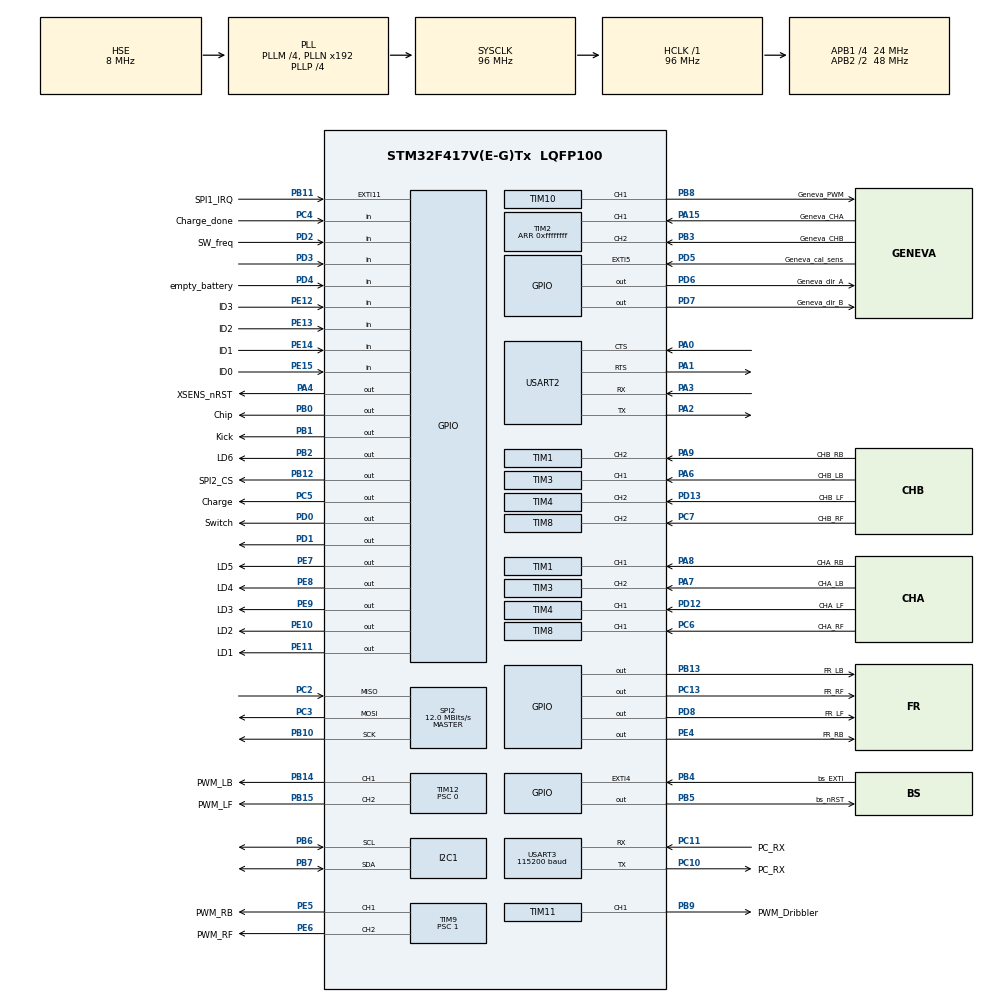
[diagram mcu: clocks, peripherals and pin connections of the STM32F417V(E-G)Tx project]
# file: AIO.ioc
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Dma.Request0=USART3_RX
Dma.Request1=USART3_TX
Dma.USART3_RX.0.Direction=DMA_PERIPH_TO_MEMORY
Dma.USART3_RX.0.FIFOMode=DMA_FIFOMODE_DISABLE
Dma.USART3_RX.0.Instance=DMA1_Stream1
Dma.USART3_RX.0.MemDataAlignment=DMA_MDATAALIGN_BYTE
Dma.USART3_RX.0.MemInc=DMA_MINC_ENABLE
Dma.USART3_RX.0.Mode=DMA_NORMAL
Dma.USART3_RX.0.PeriphDataAlignment=DMA_PDATAALIGN_BYTE
Dma.USART3_RX.0.PeriphInc=DMA_PINC_DISABLE
Dma.USART3_RX.0.Priority=DMA_PRIORITY_LOW
Dma.USART3_TX.1.Direction=DMA_MEMORY_TO_PERIPH
Dma.USART3_TX.1.FIFOMode=DMA_FIFOMODE_DISABLE
Dma.USART3_TX.1.Instance=DMA1_Stream3
Dma.USART3_TX.1.MemDataAlignment=DMA_MDATAALIGN_BYTE
Dma.USART3_TX.1.MemInc=DMA_MINC_ENABLE
Dma.USART3_TX.1.Mode=DMA_NORMAL
Dma.USART3_TX.1.PeriphDataAlignment=DMA_PDATAALIGN_BYTE
Dma.USART3_TX.1.PeriphInc=DMA_PINC_DISABLE
Dma.USART3_TX.1.Priority=DMA_PRIORITY_LOW
Mcu.Family=STM32F4
Mcu.Name=STM32F417V(E-G)Tx
Mcu.Package=LQFP100
Mcu.UserConstants=MAX_PWM,2400;ENCODER_FILTER,15;APB1,48
NVIC.DMA1_Stream1_IRQn=true\:0\:0\:false\:false\:true\:false
NVIC.DMA1_Stream3_IRQn=true\:0\:0\:false\:false\:true\:false
NVIC.EXTI15_10_IRQn=true\:0\:0\:false\:false\:true\:true
NVIC.EXTI4_IRQn=true\:0\:0\:false\:false\:true\:true
NVIC.I2C1_EV_IRQn=true\:0\:0\:false\:false\:true\:true
NVIC.PriorityGroup=NVIC_PRIORITYGROUP_4
NVIC.TIM6_DAC_IRQn=true\:0\:0\:false\:false\:true\:true
NVIC.TIM7_IRQn=true\:0\:0\:false\:false\:true\:true
NVIC.TIM8_TRG_COM_TIM14_IRQn=true\:0\:0\:false\:false\:true\:true
NVIC.TIM8_UP_TIM13_IRQn=true\:0\:0\:false\:false\:true\:true
NVIC.USART2_IRQn=true\:0\:0\:false\:false\:true\:true
NVIC.USART3_IRQn=true\:7\:0\:true\:false\:true\:true
PA0-WKUP.Mode=CTS_RTS
PA0-WKUP.Signal=USART2_CTS
PA1.Mode=CTS_RTS
PA1.Signal=USART2_RTS
PA13.Mode=Serial_Wire
PA13.Signal=SYS_JTMS-SWDIO
PA14.Mode=Serial_Wire
PA14.Signal=SYS_JTCK-SWCLK
PA15.GPIO_Label=Geneva_CHA
PA15.Signal=S_TIM2_CH1_ETR
PA2.Mode=Asynchronous
PA2.Signal=USART2_TX
PA3.Mode=Asynchronous
PA3.Signal=USART2_RX
PA4.GPIO_Label=XSENS_nRST
PA4.Signal=GPIO_Output
PA6.GPIO_Label=CHB_LB
PA6.Signal=S_TIM3_CH1
PA7.GPIO_Label=CHA_LB
PA7.Signal=S_TIM3_CH2
PA8.GPIO_Label=CHA_RB
PA8.Signal=S_TIM1_CH1
PA9.GPIO_Label=CHB_RB
PA9.Signal=S_TIM1_CH2
PB0.GPIO_Label=Chip
PB0.GPIO_Speed=GPIO_SPEED_FREQ_HIGH
PB0.Signal=GPIO_Output
PB1.GPIO_Label=Kick
PB1.GPIO_Speed=GPIO_SPEED_FREQ_HIGH
PB1.Signal=GPIO_Output
PB10.Mode=Full_Duplex_Master
PB10.Signal=SPI2_SCK
PB11.GPIO_Label=SPI1_IRQ
PB11.GPIO_ModeDefaultEXTI=GPIO_MODE_IT_FALLING
PB11.Signal=GPXTI11
PB12.GPIO_Label=SPI2_CS
PB12.Signal=GPIO_Output
PB13.GPIO_Label=FR_LB
PB13.Signal=GPIO_Output
PB14.GPIO_Label=PWM_LB
PB14.Signal=S_TIM12_CH1
PB15.GPIO_Label=PWM_LF
PB15.Signal=S_TIM12_CH2
PB2.GPIO_Label=LD6
PB2.PinState=GPIO_PIN_RESET
PB2.Signal=GPIO_Output
PB3.GPIO_Label=Geneva_CHB
PB3.Signal=S_TIM2_CH2
PB4.GPIO_Label=bs_EXTI
PB4.Signal=GPXTI4
PB5.GPIO_Label=bs_nRST
PB5.GPIO_Speed=GPIO_SPEED_FREQ_VERY_HIGH
PB5.PinState=GPIO_PIN_RESET
PB5.Signal=GPIO_Output
PB6.Mode=I2C
PB6.Signal=I2C1_SCL
PB7.Mode=I2C
PB7.Signal=I2C1_SDA
PB8.GPIO_Label=Geneva_PWM
PB8.Signal=S_TIM10_CH1
PB9.GPIO_Label=PWM_Dribbler
PB9.Signal=S_TIM11_CH1
PC10.GPIO_Label=PC_RX
PC10.Mode=Asynchronous
PC10.Signal=USART3_TX
PC11.GPIO_Label=PC_RX
PC11.Mode=Asynchronous
PC11.Signal=USART3_RX
PC13-ANTI_TAMP.GPIO_Label=FR_RF
PC13-ANTI_TAMP.Signal=GPIO_Output
PC2.Mode=Full_Duplex_Master
PC2.Signal=SPI2_MISO
PC3.Mode=Full_Duplex_Master
PC3.Signal=SPI2_MOSI
PC4.GPIO_Label=Charge_done
PC4.Signal=GPIO_Input
PC5.GPIO_Label=Charge
PC5.GPIO_Speed=GPIO_SPEED_FREQ_HIGH
PC5.Signal=GPIO_Output
PC6.GPIO_Label=CHA_RF
PC6.Signal=S_TIM8_CH1
PC7.GPIO_Label=CHB_RF
PC7.Signal=S_TIM8_CH2
PD0.GPIO_Label=Switch
PD0.Signal=GPIO_Output
PD1.Signal=GPIO_Output
PD12.GPIO_Label=CHA_LF
PD12.Signal=S_TIM4_CH1
PD13.GPIO_Label=CHB_LF
PD13.Signal=S_TIM4_CH2
PD2.GPIO_Label=SW_freq
PD2.GPIO_PuPd=GPIO_PULLUP
PD2.Signal=GPIO_Input
PD3.Signal=GPIO_Input
PD4.GPIO_Label=empty_battery
PD4.GPIO_PuPd=GPIO_PULLDOWN
PD4.Signal=GPIO_Input
PD5.GPIO_Label=Geneva_cal_sens
PD5.GPIO_ModeDefaultEXTI=GPIO_MODE_IT_FALLING
PD5.GPIO_PuPd=GPIO_PULLUP
PD5.Signal=GPXTI5
PD6.GPIO_Label=Geneva_dir_A
PD6.Signal=GPIO_Output
PD7.GPIO_Label=Geneva_dir_B
PD7.Signal=GPIO_Output
PD8.GPIO_Label=FR_LF
PD8.Signal=GPIO_Output
PE10.GPIO_Label=LD2
PE10.PinState=GPIO_PIN_RESET
PE10.Signal=GPIO_Output
PE11.GPIO_Label=LD1
PE11.PinState=GPIO_PIN_RESET
PE11.Signal=GPIO_Output
PE12.GPIO_Label=ID3
PE12.Signal=GPIO_Input
PE13.GPIO_Label=ID2
PE13.Signal=GPIO_Input
PE14.GPIO_Label=ID1
PE14.Signal=GPIO_Input
PE15.GPIO_Label=ID0
PE15.Signal=GPIO_Input
PE4.GPIO_Label=FR_RB
PE4.Signal=GPIO_Output
PE5.GPIO_Label=PWM_RB
PE5.Signal=S_TIM9_CH1
PE6.GPIO_Label=PWM_RF
PE6.Signal=S_TIM9_CH2
PE7.GPIO_Label=LD5
PE7.PinState=GPIO_PIN_RESET
PE7.Signal=GPIO_Output
PE8.GPIO_Label=LD4
PE8.PinState=GPIO_PIN_RESET
PE8.Signal=GPIO_Output
PE9.GPIO_Label=LD3
PE9.PinState=GPIO_PIN_RESET
PE9.Signal=GPIO_Output
PH0-OSC_IN.Mode=HSE-External-Oscillator
PH0-OSC_IN.Signal=RCC_OSC_IN
PH1-OSC_OUT.Mode=HSE-External-Oscillator
PH1-OSC_OUT.Signal=RCC_OSC_OUT
ProjectManager.HeapSize=0x200
ProjectManager.StackSize=0x400
ProjectManager.TargetToolchain=SW4STM32
RCC.48MHZClocksFreq_Value=96000000
RCC.AHBFreq_Value=96000000
RCC.APB1CLKDivider=RCC_HCLK_DIV4
RCC.APB1Freq_Value=24000000
RCC.APB1TimFreq_Value=48000000
RCC.APB2CLKDivider=RCC_HCLK_DIV2
RCC.APB2Freq_Value=48000000
RCC.APB2TimFreq_Value=96000000
RCC.CortexFreq_Value=96000000
RCC.HCLKFreq_Value=96000000
RCC.HSE_VALUE=8000000
RCC.HSI_VALUE=16000000
RCC.LSE_VALUE=32768
RCC.PLLM=4
RCC.PLLP=RCC_PLLP_DIV4
RCC.PLLSourceVirtual=RCC_PLLSOURCE_HSE
RCC.RCC_RTC_Clock_SourceVirtual=RCC_RTCCLKSOURCE_HSE_DIV25
RCC.RCC_RTC_Clock_Source_FROM_HSE=RCC_RTCCLKSOURCE_HSE_DIV25
RCC.SYSCLKFreq_VALUE=96000000
RCC.SYSCLKSource=RCC_SYSCLKSOURCE_PLLCLK
RCC.VCOOutputFreq_Value=384000000
SH.S_TIM10_CH1.0=TIM10_CH1,PWM Generation1 CH1
SH.S_TIM11_CH1.0=TIM11_CH1,PWM Generation1 CH1
SH.S_TIM12_CH1.0=TIM12_CH1,PWM Generation1 CH1
SH.S_TIM12_CH2.0=TIM12_CH2,PWM Generation2 CH2
SH.S_TIM1_CH1.0=TIM1_CH1,Encoder_Interface
SH.S_TIM1_CH2.0=TIM1_CH2,Encoder_Interface
SH.S_TIM2_CH1_ETR.0=TIM2_CH1,Encoder_Interface
SH.S_TIM2_CH2.0=TIM2_CH2,Encoder_Interface
SH.S_TIM3_CH1.0=TIM3_CH1,Encoder_Interface
SH.S_TIM3_CH2.0=TIM3_CH2,Encoder_Interface
SH.S_TIM4_CH1.0=TIM4_CH1,Encoder_Interface
SH.S_TIM4_CH2.0=TIM4_CH2,Encoder_Interface
SH.S_TIM8_CH1.0=TIM8_CH1,Encoder_Interface
SH.S_TIM8_CH2.0=TIM8_CH2,Encoder_Interface
SH.S_TIM9_CH1.0=TIM9_CH1,PWM Generation1 CH1
SH.S_TIM9_CH2.0=TIM9_CH2,PWM Generation2 CH2
SPI2.BaudRatePrescaler=SPI_BAUDRATEPRESCALER_2
SPI2.CalculateBaudRate=12.0 MBits/s
SPI2.Direction=SPI_DIRECTION_2LINES
SPI2.Mode=SPI_MODE_MASTER
SPI2.VirtualType=VM_MASTER
TIM1.EncoderMode=TIM_ENCODERMODE_TI12
TIM1.IC1Filter=ENCODER_FILTER
TIM1.IC2Filter=ENCODER_FILTER
TIM1.Period=0xffff
TIM10.Channel=TIM_CHANNEL_1
TIM10.Period=MAX_PWM
TIM11.Channel=TIM_CHANNEL_1
TIM11.Period=MAX_PWM
TIM11.Prescaler=0
TIM12.Channel-Output\ Compare1\ CH1=TIM_CHANNEL_1
TIM12.Channel-PWM\ Generation1\ CH1=TIM_CHANNEL_1
TIM12.Channel-PWM\ Generation2\ CH2=TIM_CHANNEL_2
TIM12.OCFastMode_PWM-PWM\ Generation1\ CH1=TIM_OCFAST_ENABLE
TIM12.OCFastMode_PWM-PWM\ Generation2\ CH2=TIM_OCFAST_ENABLE
TIM12.OCMode_PWM-PWM\ Generation1\ CH1=TIM_OCMODE_PWM1
TIM12.OCMode_PWM-PWM\ Generation2\ CH2=TIM_OCMODE_PWM1
TIM12.OCPolarity_2=TIM_OCPOLARITY_HIGH
TIM12.Period=MAX_PWM
TIM12.Prescaler=0
TIM12.Pulse-PWM\ Generation1\ CH1=0
TIM12.Pulse-PWM\ Generation2\ CH2=0
TIM13.Prescaler=2400
TIM14.Period=1500
TIM14.Prescaler=APB1-1
TIM2.EncoderMode=TIM_ENCODERMODE_TI12
TIM2.IC1Filter=ENCODER_FILTER
TIM2.IC2Filter=ENCODER_FILTER
TIM2.Period=0xffffffff
TIM3.CounterMode=TIM_COUNTERMODE_UP
TIM3.EncoderMode=TIM_ENCODERMODE_TI12
TIM3.IC1Filter=ENCODER_FILTER
TIM3.IC2Filter=ENCODER_FILTER
TIM3.Period=0xffff
TIM4.EncoderMode=TIM_ENCODERMODE_TI12
TIM4.IC1Filter=ENCODER_FILTER
TIM4.IC2Filter=ENCODER_FILTER
TIM4.Period=0xffff
TIM5.Period=0xffffffff
TIM5.Prescaler=APB1-1
TIM6.Period=10000
TIM6.Prescaler=APB1-1
TIM7.Period=10000
TIM7.Prescaler=APB1-1
TIM8.EncoderMode=TIM_ENCODERMODE_TI12
TIM8.IC1Filter=ENCODER_FILTER
TIM8.IC2Filter=ENCODER_FILTER
TIM8.Period=0xffff
TIM9.Channel-PWM\ Generation1\ CH1=TIM_CHANNEL_1
TIM9.Channel-PWM\ Generation2\ CH2=TIM_CHANNEL_2
TIM9.OCFastMode_PWM-PWM\ Generation1\ CH1=TIM_OCFAST_ENABLE
TIM9.OCFastMode_PWM-PWM\ Generation2\ CH2=TIM_OCFAST_ENABLE
TIM9.Period=MAX_PWM
TIM9.Prescaler=1
USART2.VirtualMode=VM_ASYNC
USART3.BaudRate=115200
USART3.VirtualMode=VM_ASYNC
VP_TIM10_VS_ClockSourceINT.Mode=Enable_Timer
VP_TIM11_VS_ClockSourceINT.Mode=Enable_Timer
VP_TIM13_VS_ClockSourceINT.Mode=Enable_Timer
VP_TIM14_VS_ClockSourceINT.Mode=Enable_Timer
VP_TIM5_VS_ClockSourceINT.Mode=Internal
VP_TIM6_VS_ClockSourceINT.Mode=Enable_Timer
VP_TIM7_VS_ClockSourceINT.Mode=Enable_Timer
board=AIO

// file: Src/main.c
/**
  ******************************************************************************
  * @file           : main.c
  * @brief          : Main program body
  ******************************************************************************
  ** This notice applies to any and all portions of this file
  * that are not between comment pairs USER CODE BEGIN and
  * USER CODE END. Other portions of this file, whether
  * inserted by the user or by software development tools
  * are owned by their respective copyright owners.
  *
  * COPYRIGHT(c) 2019 STMicroelectronics
  *
  * Redistribution and use in source and binary forms, with or without modification,
  * are permitted provided that the following conditions are met:
  *   1. Redistributions of source code must retain the above copyright notice,
  *      this list of conditions and the following disclaimer.
  *   2. Redistributions in binary form must reproduce the above copyright notice,
  *      this list of conditions and the following disclaimer in the documentation
  *      and/or other materials provided with the distribution.
  *   3. Neither the name of STMicroelectronics nor the names of its contributors
  *      may be used to endorse or promote products derived from this software
  *      without specific prior written permission.
  *
  * THIS SOFTWARE IS PROVIDED BY THE COPYRIGHT HOLDERS AND CONTRIBUTORS "AS IS"
  * AND ANY EXPRESS OR IMPLIED WARRANTIES, INCLUDING, BUT NOT LIMITED TO, THE
  * IMPLIED WARRANTIES OF MERCHANTABILITY AND FITNESS FOR A PARTICULAR PURPOSE ARE
  * DISCLAIMED. IN NO EVENT SHALL THE COPYRIGHT HOLDER OR CONTRIBUTORS BE LIABLE
  * FOR ANY DIRECT, INDIRECT, INCIDENTAL, SPECIAL, EXEMPLARY, OR CONSEQUENTIAL
  * DAMAGES (INCLUDING, BUT NOT LIMITED TO, PROCUREMENT OF SUBSTITUTE GOODS OR
  * SERVICES; LOSS OF USE, DATA, OR PROFITS; OR BUSINESS INTERRUPTION) HOWEVER
  * CAUSED AND ON ANY THEORY OF LIABILITY, WHETHER IN CONTRACT, STRICT LIABILITY,
  * OR TORT (INCLUDING NEGLIGENCE OR OTHERWISE) ARISING IN ANY WAY OUT OF THE USE
  * OF THIS SOFTWARE, EVEN IF ADVISED OF THE POSSIBILITY OF SUCH DAMAGE.
  *
  ******************************************************************************
  */
#include "main.h"
#include "stm32f4xx_hal.h"
#include "dma.h"
#include "i2c.h"
#include "spi.h"
#include "tim.h"
#include "usart.h"
#include "gpio.h"

/* USER CODE BEGIN Includes */
#include <math.h>
#include <stdlib.h>
#include "PuttyInterface/PuttyInterface.h"
#include "userIO/userIO.h"
#include "Geneva/geneva.h"
#include "DO/DO.h"
#include "Ballsensor/ballsensor.h"
//#include "myNRF24.h"
#include "wheels/wheels.h"
#include "kickchip/kickchip.h"
#include "MTi/MTiControl.h"
#include "wireless/wireless.h"
#include "dribbler/dribbler.h"
#include "DO/control_util.h"
#include "arm_math.h"
#include "Kalman/Kalman.h"
#include "DO/stateEstimation.h"

/* USER CODE END Includes */

/* USER CODE BEGIN PV */
/* Private variables ---------------------------------------------------------*/
#define STOP_AFTER 250 //ms
PuttyInterfaceTypeDef puttystruct;
bool battery_empty = false;
bool user_control = false;
bool print_encoder = false;
bool print_euler = false;
bool wheels_testing = false;
float wheels_testing_power = 3000;
bool keyboard_control = false;
bool started_icc = false;
bool halt = true;
bool calibration_needed = true;
bool vision_available = false;
bool use_global_ref = true;

float wheels_ref[4] = {0,0,0,0};
float velocityRef[3] = {0};
float vision_yaw = 0;
uint kick_timer = 0;
uint8_t corrected_kick_power = 0;

// KALMAN
float vel[2] = {0};
float accel[2] = {0};

/* USER CODE END PV */

void SystemClock_Config(void);

/* USER CODE BEGIN PFP */
/* Private function prototypes -----------------------------------------------*/
void HandleCommand(char* input);

/* USER CODE END PFP */

int main(void)
{

  /* MCU Configuration----------------------------------------------------------*/

  /* Reset of all peripherals, Initializes the Flash interface and the Systick. */
  HAL_Init();

  /* Configure the system clock */
  SystemClock_Config();

  /* Initialize all configured peripherals */
  MX_GPIO_Init();
  MX_DMA_Init();
  MX_TIM8_Init();
  MX_TIM4_Init();
  MX_TIM3_Init();
  MX_TIM2_Init();
  MX_TIM9_Init();
  MX_TIM12_Init();
  MX_TIM10_Init();
  MX_TIM11_Init();
  MX_USART2_UART_Init();
  MX_I2C1_Init();
  MX_SPI2_Init();
  MX_USART3_UART_Init();
  MX_TIM1_Init();
  MX_TIM6_Init();
  MX_TIM7_Init();
  MX_TIM5_Init();
  MX_TIM13_Init();
  MX_TIM14_Init();

  /* USER CODE BEGIN 2 */
	puttystruct.handle = HandleCommand;
	Kalman_init();
	PuttyInterface_Init(&puttystruct);
	vel_control_Init();
	dribbler_Init();
	ballsensorInit();
	wheelsInit();
	MT_Init();
	//geneva_Init();
	kick_Init();

	if(HAL_GPIO_ReadPin(SW_freq_GPIO_Port, SW_freq_Pin)){
		Wireless_Init(ReadAddress(), 103);
	}else{
		Wireless_Init(ReadAddress(), 80);
	}

  /* USER CODE END 2 */

  /* Infinite loop */
  /* USER CODE BEGIN WHILE */
	uint printtime = 0;
	uint battery_count = 0;
	preparedAckData.batteryState = 0;
	enable_acks = 0;
	while (1)
	{
		HAL_GPIO_TogglePin(Switch_GPIO_Port,Switch_Pin);

		if(Wireless_newData()) {
			Wireless_newPacketHandler();
			//printBallPosition();
			//HAL_GPIO_TogglePin(LD3_GPIO_Port, LD3_Pin);

			//if (!calibration_needed) {
			halt = false; // robot is only allowed to move after packages are received and yaw calibration is not needed
			//}
			LastPackageTime = HAL_GetTick();

			//TODO: test this data coming in
			float velRefAmp = (float)receivedRoboData.rho * 0.004F;
			float velRefDir = (float)receivedRoboData.theta / 1024.0F * M_PI;
			float angularVelRef = (float)receivedRoboData.velocity_angular / 512.0F * M_PI;
			velocityRef[body_x] = cosf(velRefDir) * velRefAmp;
			velocityRef[body_y] = sinf(velRefDir) * velRefAmp;
			if(receivedRoboData.use_angle){
				velocityRef[body_w] = angularVelRef;
			}
			use_global_ref = receivedRoboData.driving_reference;

			//TODO: test vision angle and calibration etc.
			vision_available = receivedRoboData.use_cam_info;
			if (vision_available) {
				vision_yaw = ((float)receivedRoboData.cam_rotation/1024.0F)*M_PI;
			}

			//dribbler
			dribbler_SetSpeed(receivedRoboData.velocity_dribbler);

			//kicker
			float kick_power = (float)receivedRoboData.kick_chip_power/255.0F*8.0F; // represented kick power
			if (kick_power > 4.5F) {
				corrected_kick_power = 99.0; // above a certain command, we cannot shoot any faster, so we choose maximum power for certainty
			} else {
				corrected_kick_power = (kick_power*0.5F+1.0F)/8.0F*100.0F; // scale (0 to 8) range to (1 to 5) range such that in software the command matches the start velocity of the ball
			}
			//		uprintf("[%f, %f, %i]\n\r", kick_power, (float)(corrected_kick_power)/100*8,corrected_kick_power);
			if (receivedRoboData.kick_chip_forced/* && ((HAL_GetTick() - kick_timer) > 0)*/){
				kick_timer = HAL_GetTick() + 1000U;
				float kick_power = (float)receivedRoboData.kick_chip_power/255.0F*8.0F; // represented kick power
				float corrected_kick_power;
				if (kick_power > 4.5F) {
					corrected_kick_power = 99; // above a certain command, we cannot shoot any faster, so we choose maximum power for certainty
				} else {
					corrected_kick_power = (kick_power*0.5F+1.0F)/8.0F*100.0F; // scale (0 to 8) range to (1 to 5) range such that in software the command matches the start velocity of the ball
				}
				kick_Shoot(corrected_kick_power,!receivedRoboData.do_chip);
			}

			//geneva
			if (receivedRoboData.geneva_drive_state != 0){
				geneva_SetPosition(receivedRoboData.geneva_drive_state-1);
			}

		}else if(wheels_testing){
			velocityRef[body_x] = wheels_testing_power;
			halt = false;
		}else if((HAL_GetTick() - LastPackageTime > STOP_AFTER)/* && !user_control*/){; // if no new wireless data
		halt = true;
		vision_available = false;
		}
		// check if battery is empty
		if(HAL_GPIO_ReadPin(empty_battery_GPIO_Port, empty_battery_Pin)){
			if(battery_count++ == 1000){
				uprintf("Battery empty!\n\r");
				ToggleLD(4);
				wheelsDeInit();
				kick_DeInit();
				dribbler_Deinit();
				geneva_Deinit();
				preparedAckData.batteryState = 1;
				Wireless_Deinit();
			}
		}

		preparedAckData.ballSensor = ballsensorMeasurementLoop(receivedRoboData.do_kick, receivedRoboData.do_chip, corrected_kick_power);
		if(preparedAckData.ballSensor == NOBALL){
			SetLD(2, 0);
		}else{
			SetLD(2, 1);
		}
		preparedAckData.ballSensor = ballsensorMeasurementLoop(1, receivedRoboData.do_chip, 30);

		//uprintf("ball: %i\n",preparedAckData.ballSensor);

		// ------ TEMPORARY TESTING ---------
		//      also turn off line 239
		//	vision_yaw = 0.5*M_PI;
		//	vision_available = true;
		// ----------------------------------

		geneva_Update();
		MT_Update();
		if((HAL_GetTick() - printtime >= 500)){
			printtime = HAL_GetTick();
			ToggleLD(1);

			//CHECK NRF STATUS REGISTER EVERY SECOND...IF NRF IS CONSTIPATED, FLUSH SHIT OUT
			if(readReg(STATUS) != 0x0e) {
				nrfPrintStatus(readReg(STATUS));
				uprintf("--> Flushing constipated NRF\n");
				flushRX();
				clearInterrupts();
			}

			if(*MT_GetStatusWord() & 0b00011000){
				//uprintf("calibrating Xsens.\n\r");
			}else if(started_icc == false){
				started_icc = true;
				if(MT_UseIcc() == MT_succes)
					uprintf("Xsens calibration done.\n\r");
			}

			//uprintf("acceleration: %f %f %f\n\r", MT_GetAcceleration()[0], MT_GetAcceleration()[1], MT_GetAcceleration()[2]);
			//uprintf("Angle ref: %f\n\r", velocityRef[body_w]);
//			uprintf("kP: %f \n\r", angleK.kP);
//			uprintf("kI: %f \n\r", angleK.kI);
//			uprintf("\n\r");
			//			uprintf("s: %d %d %d %d\n\r", (int)getWheelSpeed(wheels_RF), (int)getWheelSpeed(wheels_RB), (int)getWheelSpeed(wheels_LB), (int)getWheelSpeed(wheels_LF));
			//			uprintf("r: %d %d %d %d\n\r", (int)wheels_ref[wheels_RF], (int)wheels_ref[wheels_RB], (int)wheels_ref[wheels_LB], (int)wheels_ref[wheels_LF]);
			//		uprintf("Vision available? ");
			//		uprintf(vision_available ? "yes\n\r" : "no\n\r");
//					uprintf("Vision yaw: %f degrees\n\r", vision_yaw/M_PI*180);
			//		uprintf("Raw XSens yaw: %f degrees\n\r", MT_GetAngles()[2]);

			//		uprintf("  Difference: %f\n\r", constrainAngle(MT_GetAngles()[2]/180*M_PI - getYaw())/M_PI*180);
			//		uprintf("XSens rate of turn: %f degrees/sec\n\r", MT_GetGyro()[2]/M_PI*180);
////			float gain[4][4] = {0};
//			getKGain(gain);
			//KalmanK();
//			uprintf("wheel speeds: %f %f %f %f\n\r", getWheelSpeed(wheels_RF), getWheelSpeed(wheels_RB), getWheelSpeed(wheels_LB), getWheelSpeed(wheels_LF));
			//for (int i = 0; i < 4; i++) {
			//	uprintf("Kalman Gain %d: %f %f %f %f\n\r", i, gain[0][i], gain[1][i], gain[2][i], gain[3][i]);
			//}
			//		uprintf("\n\r");
			//uprintf("ballSensor = [%d]\n\r", preparedAckData.ballSensor);
			//uprintf("MT status suc/err = [%u/%u]\n\r", MT_GetSuccErr()[0], MT_GetSuccErr()[1]);
			//uprintf("status word [%08lx]\n\r", (unsigned long)*MT_GetStatusWord());
			//uprintf("charge = %d\n\r", HAL_GPIO_ReadPin(Charge_GPIO_Port, Charge_Pin));
			//uprintf("geneva_state = [%d]\n\r", geneva_GetState());

			/*
			 * FREQUENTLY USED
			 */

			uprintf("Calibrated XSens yaw: %f rad\n\r", getYaw());
			uprintf("vel command: %f %f %f\n\r", velocityRef[0], velocityRef[1], velocityRef[2]);
			//uprintf("measurements: %f %f %f %f\n\r", vel[0], MT_GetAcceleration()[0], vel[1], MT_GetAcceleration()[1]);
			float state[4] = {0};
			getState(state);
			float controlInput[4] = {0};
			KalmanState(accel, vel, controlInput);
			uprintf("Kalman state: %f %f %f %f\n\r", state[0], state[1], state[2], state[3]);

			uprintf("wheel speeds: %d %d %d %d\n\r", (int)getWheelSpeed(wheels_RF), (int)getWheelSpeed(wheels_RB), (int)getWheelSpeed(wheels_LB), (int)getWheelSpeed(wheels_LF));
			uprintf("ref: %d %d %d %d\n\r", (int)wheels_ref[wheels_RF], (int)wheels_ref[wheels_RB], (int)wheels_ref[wheels_LB], (int)wheels_ref[wheels_LF]);
			uprintf("PWM: %d %d %d %d\n\r", getPWM(wheels_RF), getPWM(wheels_RB), getPWM(wheels_LB), getPWM(wheels_LF));

			uprintf("\n\r");

		}
  /* USER CODE END WHILE */

  /* USER CODE BEGIN 3 */
		PuttyInterface_Update(&puttystruct);
	} // end while loop
  /* USER CODE END 3 */

}

void SystemClock_Config(void)
{

  RCC_OscInitTypeDef RCC_OscInitStruct;
  RCC_ClkInitTypeDef RCC_ClkInitStruct;

    /**Configure the main internal regulator output voltage
    */
  __HAL_RCC_PWR_CLK_ENABLE();

  __HAL_PWR_VOLTAGESCALING_CONFIG(PWR_REGULATOR_VOLTAGE_SCALE1);

    /**Initializes the CPU, AHB and APB busses clocks
    */
  RCC_OscInitStruct.OscillatorType = RCC_OSCILLATORTYPE_HSE;
  RCC_OscInitStruct.HSEState = RCC_HSE_ON;
  RCC_OscInitStruct.PLL.PLLState = RCC_PLL_ON;
  RCC_OscInitStruct.PLL.PLLSource = RCC_PLLSOURCE_HSE;
  RCC_OscInitStruct.PLL.PLLM = 4;
  RCC_OscInitStruct.PLL.PLLN = 192;
  RCC_OscInitStruct.PLL.PLLP = RCC_PLLP_DIV4;
  RCC_OscInitStruct.PLL.PLLQ = 4;
  if (HAL_RCC_OscConfig(&RCC_OscInitStruct) != HAL_OK)
  {
    _Error_Handler(__FILE__, __LINE__);
  }

    /**Initializes the CPU, AHB and APB busses clocks
    */
  RCC_ClkInitStruct.ClockType = RCC_CLOCKTYPE_HCLK|RCC_CLOCKTYPE_SYSCLK
                              |RCC_CLOCKTYPE_PCLK1|RCC_CLOCKTYPE_PCLK2;
  RCC_ClkInitStruct.SYSCLKSource = RCC_SYSCLKSOURCE_PLLCLK;
  RCC_ClkInitStruct.AHBCLKDivider = RCC_SYSCLK_DIV1;
  RCC_ClkInitStruct.APB1CLKDivider = RCC_HCLK_DIV4;
  RCC_ClkInitStruct.APB2CLKDivider = RCC_HCLK_DIV2;

  if (HAL_RCC_ClockConfig(&RCC_ClkInitStruct, FLASH_LATENCY_3) != HAL_OK)
  {
    _Error_Handler(__FILE__, __LINE__);
  }

    /**Configure the Systick interrupt time
    */
  HAL_SYSTICK_Config(HAL_RCC_GetHCLKFreq()/1000);

    /**Configure the Systick
    */
  HAL_SYSTICK_CLKSourceConfig(SYSTICK_CLKSOURCE_HCLK);

  /* SysTick_IRQn interrupt configuration */
  HAL_NVIC_SetPriority(SysTick_IRQn, 0, 0);
}

/* USER CODE BEGIN 4 */
#define TEST_WHEELS_COMMAND "test wheels"
#define SET_FILTER_COMMAND "mt filter"
void HandleCommand(char* input){
	if(strcmp(input, "mt start") == 0){
		uprintf("Starting device MTi\n\r");
		if(MT_succes == MT_Init()){
			uprintf("MTi started.\n\r");
		}else{
			uprintf("No communication with MTi!\n\r");
		}
	}else if(!strcmp(input, "mt stop")){
		uprintf("resetting the MTi.\n\r");
		MT_DeInit();
	}else if(strcmp(input, "mt config") == 0){
		MT_GoToConfig();
	}else if(!strcmp(input, "mt measure")){
		MT_GoToMeasure();
	}else if(!strcmp(input, "mt options")){
		MT_ReqOptions();
	}else if(!strcmp(input, "mt setoptions")){
		MT_SetOptions();
	}else if(!strcmp(input, "mt icc")){
		MT_UseIcc();
	}else if(!strcmp(input, "mt norotation")){
		MT_NoRotation(10);
	}else if(!memcmp(input, SET_FILTER_COMMAND , strlen(SET_FILTER_COMMAND))){
		MT_SetFilterProfile(strtol(input + 1 + strlen(SET_FILTER_COMMAND), NULL, 10));
	}else if(strcmp(input, "mt factoryreset") == 0){
		uprintf("Resetting the configuration.\n\r");
		MT_FactoryReset();
	}else if(strcmp(input, "mt reqfilter") == 0){
		uprintf("requesting current filter profile.\n\r");
		MT_ReqFilterProfile();
	}else if(memcmp(input, "mt setconfig", strlen("mt setconfig")) == 0){
		MT_BuildConfig(XDI_PacketCounter, 100, false);
		MT_BuildConfig(XDI_FreeAcceleration, 100, false);
		MT_BuildConfig(XDI_EulerAngles, 100, true);
	}else if(strcmp(input, "reqconfig") == 0){
		uprintf("requesting output configuration mode\n\r");
		MT_RequestConfig();
	}else if(!strcmp(input, "address")){
		uprintf("address = [%d]\n\r", localRobotID);
	}else if(!strcmp(input, "example2")){
		uprintf("stop!\n\r");
	}else if(!strcmp(input, "geneva get")){
		uprintf("position = [%u]\n\r", geneva_GetPosition());
	}else if(!strcmp(input, "geneva stop")){
		geneva_SetState(geneva_idle);
	}else if(!strcmp(input, "euler")){
		print_euler = ! print_euler;
	}else if(!memcmp(input, "geneva set" , strlen("geneva set"))){
		geneva_SetPosition(2 + strtol(input + 1 + strlen("geneva set"), NULL, 10));
	}else if(!memcmp(input, "control" , strlen("control"))){
		geneva_SetPosition(2 + strtol(input + 1 + strlen("control"), NULL, 10));
	}else if(!memcmp(input, "kick" , strlen("kick"))){
		kick_Shoot(strtol(input + 1 + strlen("kick"), NULL, 10),KICK);
	}else if(!memcmp(input, "chip" , strlen("chip"))){
		kick_Shoot(strtol(input + 1 + strlen("chip"), NULL, 10),CHIP);
	}else if(!memcmp(input, "block" , strlen("block"))){
		kick_Stateprint();
	}else if(!memcmp(input, TEST_WHEELS_COMMAND, strlen(TEST_WHEELS_COMMAND))){
		wheels_testing_power = atoff(input + strlen(TEST_WHEELS_COMMAND));
		wheels_testing = true;
		if((wheels_testing)){
			uprintf("wheels test on, pwm [%f]\n\r", wheels_testing_power);
		}
	}else if(!memcmp(input, "dribble", strlen("dribble"))){
		uint8_t speed = strtol(input + strlen("dribble"), NULL, 10);
		dribbler_SetSpeed(speed);
		uprintf("speed is set to[%lu]\n\r", __HAL_TIM_GET_COMPARE(&htim11, TIM_CHANNEL_1));
	}

	else if(!strcmp(input, "keyboard control")){
		uprintf("going to keyboard control\r\npress escape to stop\n\r");
		keyboard_control = true;
		wheels_testing = true;
	}
}

void HAL_UART_RxCpltCallback(UART_HandleTypeDef *huart){
	if(huart->Instance == huart3.Instance){//input from the PC
		puttystruct.huart_Rx_len = 1;
		puttystruct.small_buf[0] = *(huart->pRxBuffPtr-1);
	}else if(huart->Instance == huartMT.Instance){// Input from the Xsens
		MT_UART_RxCpltCallback();
	}
}

void HAL_TIM_PeriodElapsedCallback(TIM_HandleTypeDef* htim){
	if(htim->Instance == htim6.Instance){
		geneva_Control();
	}else if(htim->Instance == htim7.Instance){

		/*------------------------------------
						TESTING
		------------------------------------*/

		//		HAL_GPIO_WritePin(LD5_GPIO_Port,LD5_Pin, 1);
		//		wheelsPWM = {0,0,0,0};
		//		vision_yaw = 0.0*M_PI;
		//		vision_available = true;
		/*

		velocityRef[0] = 0.0;
		velocityRef[1] = 0.0;
		velocityRef[2] = 0.0*M_PI;

		halt = false;
		static float incVel = 0.0;
		static uint velTimer;
		int reps = 8;
		static int count = 0;
		int dir = body_x;
		static float tempVel = 0.0;

		if (HAL_GetTick() < 7000) {
			velTimer = HAL_GetTick();
		} else if (HAL_GetTick() - velTimer < 2000) {
//			if (tempVel < incVel) {
//				tempVel += 0.01;
//			}
			velocityRef[dir] = incVel;
		} else if (HAL_GetTick() - velTimer < 3000) {
			velocityRef[dir] = 0.0;
			tempVel = 0.0;
		} else if (HAL_GetTick() - velTimer < 5000) {
//			if (tempVel < incVel) {
//				tempVel += 0.01;
//			}
			velocityRef[dir] = -incVel;
		} else if (HAL_GetTick() - velTimer < 6000) {
			velocityRef[dir] = 0.0;
			tempVel = 0.0;
		} else if (count < reps-1) {
			velTimer = HAL_GetTick();
			incVel += 0.05;
			count++;
		} else {
			velocityRef[dir] = 0.0;
		}
		*/

		/* SQUARE WITH 90 DEGREES TURNS AT SIDES
		velocityRef[0] = 0.0;
		velocityRef[1] = 0.0;
		velocityRef[2] = 0.0*M_PI;

		halt = false;
		static uint velTimer;
		int reps = 1;
		static int count = 0;
		float v = 0.7;
		int t = 1500;

		if (HAL_GetTick() < 7000) {
			velTimer = HAL_GetTick();
		} else if (HAL_GetTick() - velTimer < t) {
			velocityRef[body_x] = v;
			velocityRef[body_y] = 0.0;
			velocityRef[body_w] = 0.0;
		} else if (HAL_GetTick() - velTimer < 2*t) {
			velocityRef[body_x] = v;
			velocityRef[body_y] = 0.0;
			velocityRef[body_w] = 0.5*M_PI;
		} else if (HAL_GetTick() - velTimer < 3*t) {
			velocityRef[body_x] = 0.0;
			velocityRef[body_y] = v;
			velocityRef[body_w] = 0.0;
		} else if (HAL_GetTick() - velTimer < 4*t) {
			velocityRef[body_x] = 0.0;
			velocityRef[body_y] = v;
			velocityRef[body_w] = 0.5*M_PI;
		} else if (HAL_GetTick() - velTimer < 5*t) {
			velocityRef[body_x] = -v;
			velocityRef[body_y] = 0.0;
			velocityRef[body_w] = 0.0;
		} else if (HAL_GetTick() - velTimer < 6*t) {
			velocityRef[body_x] = -v;
			velocityRef[body_y] = 0.0;
			velocityRef[body_w] = 0.5*M_PI;
		} else if (HAL_GetTick() - velTimer < 7*t) {
			velocityRef[body_x] = 0.0;
			velocityRef[body_y] = -v;
			velocityRef[body_w] = 0.0;
		} else if (HAL_GetTick() - velTimer < 8*t) {
			velocityRef[body_x] = 0.0;
			velocityRef[body_y] = -v;
			velocityRef[body_w] = 0.5*M_PI;
		} else if (count < reps-1) {
			velTimer = HAL_GetTick();
			count++;
		} else {
			velocityRef[body_x] = 0.0;
			velocityRef[body_y] = 0.0;
			velocityRef[body_w] = 0.0;
		}
		*/

		/* SQUARE WITH 180 DEGREES TURNS AT SIDES
		velocityRef[0] = 0.0;
		velocityRef[1] = 0.0;
		velocityRef[2] = 0.0*M_PI;

		halt = false;
		static uint velTimer;
		int reps = 1;
		static int count = 0;

		if (HAL_GetTick() < 7000) {
			velTimer = HAL_GetTick();
		} else if (HAL_GetTick() - velTimer < 1000) {
			velocityRef[body_x] = 0.5;
			velocityRef[body_y] = 0.0;
			velocityRef[body_w] = 0.0;
		} else if (HAL_GetTick() - velTimer < 2000) {
			velocityRef[body_x] = 0.5;
			velocityRef[body_y] = 0.0;
			velocityRef[body_w] = 1.0*M_PI;
		} else if (HAL_GetTick() - velTimer < 3000) {
			velocityRef[body_x] = 0.5;
			velocityRef[body_y] = 0.0;
			velocityRef[body_w] = 0.0*M_PI;

		} else if (HAL_GetTick() - velTimer < 4000) {
			velocityRef[body_x] = 0.0;
			velocityRef[body_y] = 0.5;
			velocityRef[body_w] = 0.5*M_PI;
		} else if (HAL_GetTick() - velTimer < 5000) {
			velocityRef[body_x] = 0.0;
			velocityRef[body_y] = 0.5;
			velocityRef[body_w] = -0.5*M_PI;
		} else if (HAL_GetTick() - velTimer < 6000) {
			velocityRef[body_x] = 0.0;
			velocityRef[body_y] = 0.5;
			velocityRef[body_w] = 0.5*M_PI;

		} else if (HAL_GetTick() - velTimer < 7000) {
			velocityRef[body_x] = -0.5;
			velocityRef[body_y] = 0.0;
			velocityRef[body_w] = -1.0*M_PI;
		} else if (HAL_GetTick() - velTimer < 8000) {
			velocityRef[body_x] = -0.5;
			velocityRef[body_y] = 0.0;
			velocityRef[body_w] = 0.0*M_PI;
		} else if (HAL_GetTick() - velTimer < 9000) {
			velocityRef[body_x] = -0.5;
			velocityRef[body_y] = 0.0;
			velocityRef[body_w] = -1.0*M_PI;

		} else if (HAL_GetTick() - velTimer < 10000) {
			velocityRef[body_x] = 0.0;
			velocityRef[body_y] = -0.5;
			velocityRef[body_w] = -0.5*M_PI;
		} else if (HAL_GetTick() - velTimer < 11000) {
			velocityRef[body_x] = 0.0;
			velocityRef[body_y] = -0.5;
			velocityRef[body_w] = 0.5*M_PI;
		} else if (HAL_GetTick() - velTimer < 12000) {
			velocityRef[body_x] = 0.0;
			velocityRef[body_y] = -0.5;
			velocityRef[body_w] = -0.5*M_PI;
		} else if (count < reps-1) {
			velTimer = HAL_GetTick();
			count++;
		} else {
			velocityRef[body_x] = 0.0;
			velocityRef[body_y] = 0.0;
			velocityRef[body_w] = 0.0;
		}
		*/
		//------------------------------------

		float controlInput[4] = {0};
//		if (fabs(velocityRef[0]-vel[0]) > 0.1) {
//			controlInput[1] = (velocityRef[0]-vel[0] < 0) ? -5 : 5;
//		}
//		if (fabs(velocityRef[1]-vel[1]) > 0.1) {
//			controlInput[3] = (velocityRef[1]-vel[1] < 0) ? -5 : 5;
//		}
		float accel[2] = {0};
//		accel[0] = MT_GetAcceleration()[0];
//		accel[1] = MT_GetAcceleration()[1];
		getvel(vel);
		KalmanState(accel, vel, controlInput);
//		halt = false;
		DO_Control(velocityRef, vision_yaw, vision_available, wheels_ref, use_global_ref); // outputs to wheels_ref
		// send PWM to motors
		if (halt) { // when communication is lost for too long, we send 0 to the motors
			float wheel_powers[4] = {0,0,0,0};
			for (int i=0; i<4; i++) {wheels_ref[i]=0;}
			setWheelSpeed(wheel_powers);

			// Reset integration value of PID
			angleK.I = 0;
		} else {
			// copy the controller output before sending it to SetOutput, to make sure it doesnt get altered at the wrong time
			float wheel_powers[4] = {wheels_ref[0], wheels_ref[1],wheels_ref[2],wheels_ref[3]};
			//float wheel_powers[4] = {20,20,20,20};
			setWheelSpeed(wheel_powers);
		}
		//		HAL_GPIO_WritePin(LD5_GPIO_Port,LD5_Pin, 0);

		//		fillXSensData(xsensData);

		//if(wheels_testing)	uprintf("wheels speeds are[%f %f %f %f]\n\r", wheels_GetSpeed(wheels_LF), wheels_GetSpeed(wheels_RF), wheels_GetSpeed(wheels_RB), wheels_GetSpeed(wheels_LB));
		//if(wheels_testing)	uprintf("wheels encoders are[%d %d %d %d]\n\r", wheels_GetEncoder(wheels_RF), wheels_GetEncoder(wheels_RB), wheels_GetEncoder(wheels_LB), wheels_GetEncoder(wheels_LF));
		//		float * euler;
		//		euler = MT_GetAngles();
		//		if(Xsens_state == Xsens_Measure && print_euler)	uprintf("euler angles[%f, %f, %f]\n\r", euler[0], euler[1], euler[2]);

	}else if(htim->Instance == htim13.Instance){
		kick_Callback();
	}else if(htim->Instance == htim14.Instance){
		//wheelsCallback();
	}
}

void HAL_GPIO_EXTI_Callback(uint16_t GPIO_Pin){
	if(GPIO_Pin == SPI1_IRQ_Pin){
		//Wireless_newPacketHandler();
	}else if(GPIO_Pin == Geneva_cal_sens_Pin){
		// calibration  of the geneva drive finished
		//uprintf("geneva sensor\n\r");
		geneva_SensorCallback();
	}
}

/* USER CODE END 4 */

void _Error_Handler(char *file, int line)
{
	while(1)
	{
	}
}

/************************ (C) COPYRIGHT STMicroelectronics *****END OF FILE****/
